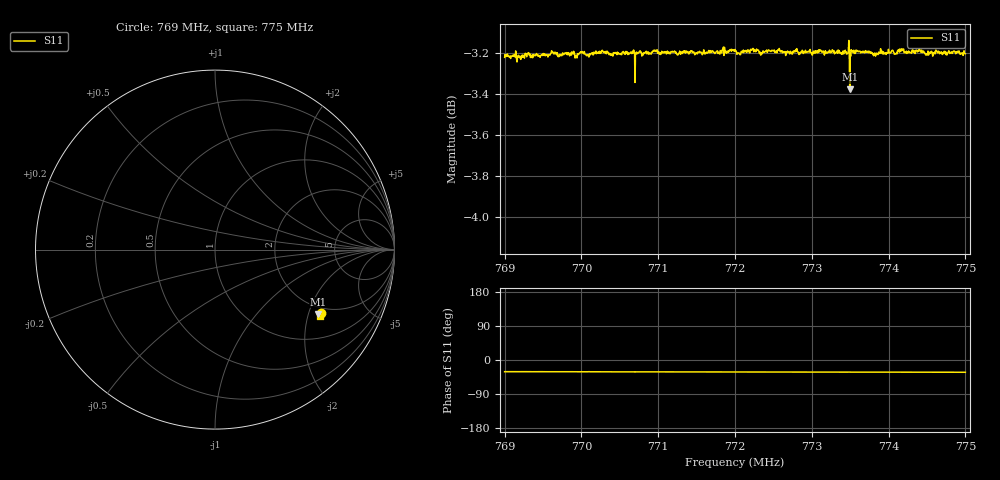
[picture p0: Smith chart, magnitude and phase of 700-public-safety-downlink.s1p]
! Calibrated averaged scanner-service zoom
# Hz S RI R 50
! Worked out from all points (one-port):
!   1001 points, 769 MHz to 775 MHz, reference 50 ohm
!   lowest |S11| = -3.4 dB at 773.494 MHz (marker M1), VSWR 5.21, Z = 87.4 - j116 ohm
!   |S11| at or under -10 dB: nowhere
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7.69e8  0.5924 -0.3539
7.69126e8  0.5931 -0.3548
7.69192e8  0.5922 -0.3541
7.69462e8  0.592 -0.3546
7.69624e8  0.5932 -0.3566
7.6975e8  0.5924 -0.3561
7.6999e8  0.5929 -0.3573
7.7008e8  0.5921 -0.3565
7.7026e8  0.5919 -0.3585
7.705e8  0.5913 -0.3582
7.70662e8  0.5918 -0.3589
7.70668e8  0.5921 -0.359
7.70722e8  0.5911 -0.3587
7.7074e8  0.5911 -0.3596
7.70956e8  0.5919 -0.3601
7.7125e8  0.5896 -0.3603
7.72e8  0.5904 -0.3631
7.7275e8  0.5877 -0.3644
7.73452e8  0.5867 -0.3657
7.73494e8  0.5751 -0.3587
7.735e8  0.5863 -0.3669
7.73524e8  0.5875 -0.3669
7.73542e8  0.5864 -0.3682
7.73824e8  0.5864 -0.3666
7.7425e8  0.5852 -0.3695
7.7449e8  0.5847 -0.369
7.7464e8  0.5846 -0.3699
7.75e8  0.584 -0.3702
